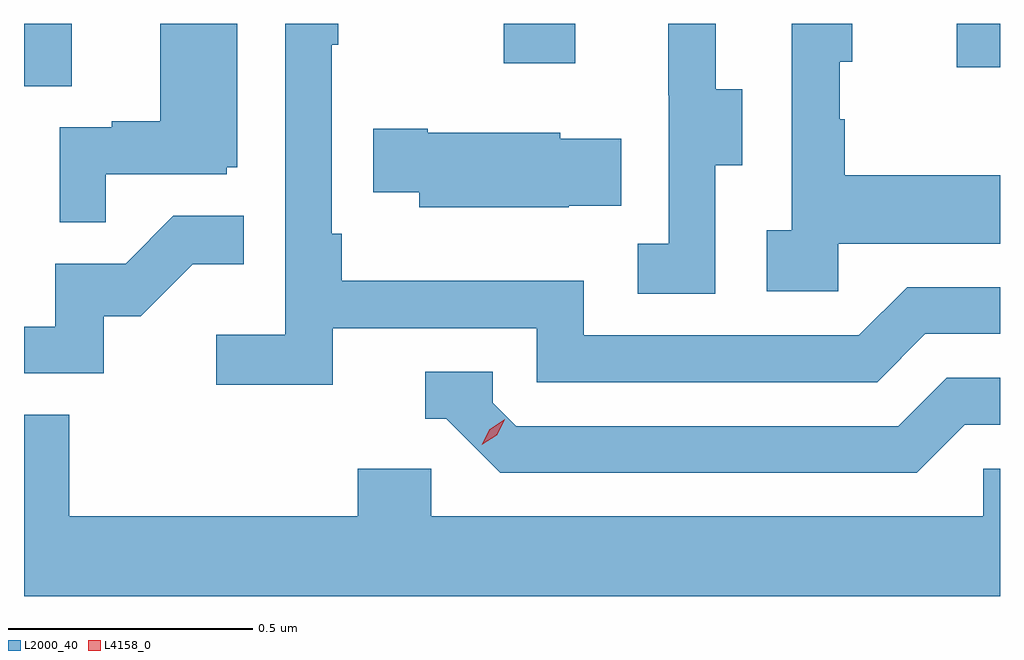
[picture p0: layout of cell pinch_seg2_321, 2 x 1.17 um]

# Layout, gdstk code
import gdstk
lib = gdstk.Library(unit=1e-6, precision=1e-09)
def R(c, l, rs):  # rectangles x0, y0, x1, y1
    for r in rs: c.add(gdstk.rectangle(r[:2], r[2:], *l))
def P(c, l, *ps):  # polygons
    for p in ps: c.add(gdstk.Polygon(p, *l))
L2000_40 = (2000, 40)
L4158_0 = (4158, 0)

pinch_seg2_321 = lib.new_cell('pinch_seg2_321')
R(pinch_seg2_321, L2000_40, [(912.983,638.026,913.081,638.154), (914.894,638.064,914.983,638.154), (913.966,638.073,914.113,638.154)])
P(pinch_seg2_321, L2000_40, [(914.4,637.864),(914.455,637.864),(914.455,638.019),(914.401,638.019),(914.401,638.154),(914.303,638.154),(914.303,638.007),(914.304,638.007),(914.304,637.703),(914.241,637.703),(914.241,637.6),(914.4,637.6)],
  [(914.652,637.703),(914.983,637.703),(914.983,637.843),(914.665,637.843),(914.665,637.958),(914.655,637.958),(914.655,638.076),(914.68,638.076),(914.68,638.154),(914.556,638.154),(914.556,637.73),(914.505,637.73),(914.505,637.605),(914.652,637.605)],
  [(913.616,637.53),(914.034,637.53),(914.034,637.419),(914.731,637.419),(914.83,637.518),(914.983,637.518),(914.983,637.614),(914.793,637.614),(914.694,637.515),(914.13,637.515),(914.13,637.627),(913.634,637.627),(913.634,637.723),(913.614,637.723),(913.614,638.111),(913.627,638.111),(913.627,638.154),(913.518,638.154),(913.518,637.516),(913.377,637.516),(913.377,637.414),(913.616,637.414)],
  [(913.151,637.845),(913.398,637.845),(913.398,637.86),(913.42,637.86),(913.42,638.154),(913.262,638.154),(913.262,637.954),(913.163,637.954),(913.163,637.941),(913.056,637.941),(913.056,637.747),(913.151,637.747)],
  [(914.099,637.781),(914.207,637.781),(914.207,637.918),(914.082,637.918),(914.082,637.93),(913.81,637.93),(913.81,637.938),(913.699,637.938),(913.699,637.808),(913.793,637.808),(913.793,637.778),(914.099,637.778)],
  [(913.146,637.554),(913.222,637.554),(913.329,637.661),(913.433,637.661),(913.433,637.76),(913.289,637.76),(913.191,637.662),(913.047,637.662),(913.047,637.533),(912.983,637.533),(912.983,637.437),(913.146,637.437)],
  [(914.911,637.332),(914.983,637.332),(914.983,637.428),(914.874,637.428),(914.775,637.329),(913.992,637.329),(913.944,637.377),(913.944,637.44),(913.805,637.44),(913.805,637.344),(913.848,637.344),(913.959,637.233),(914.812,637.233)],
  [(914.983,637.242),(914.949,637.242),(914.949,637.144),(913.818,637.144),(913.818,637.242),(913.667,637.242),(913.667,637.144),(913.076,637.144),(913.076,637.352),(912.983,637.352),(912.983,636.98),(914.983,636.98)])
P(pinch_seg2_321, L4158_0, [(913.921,637.291),(913.921,637.291),(913.937,637.323),(913.968,637.343),(913.968,637.343),(913.968,637.342),(913.952,637.31),(913.921,637.291)])

lib.write_gds('pinch_seg2_321.gds')
